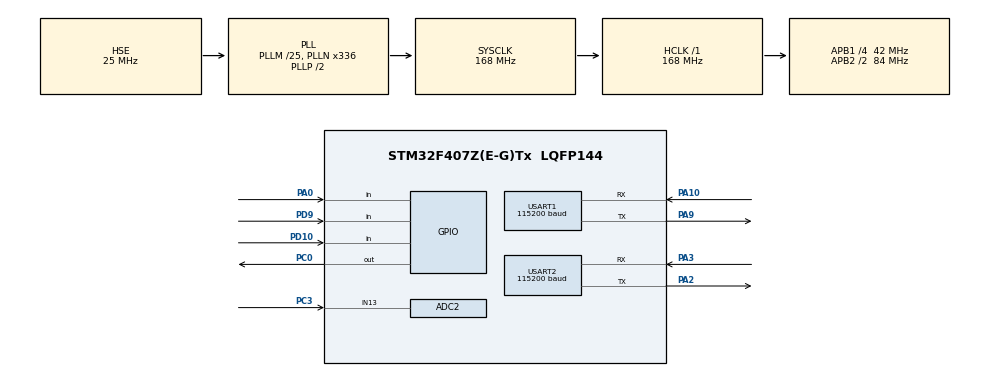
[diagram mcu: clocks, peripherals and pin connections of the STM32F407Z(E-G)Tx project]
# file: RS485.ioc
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ADC2.Channel-0\#ChannelRegularConversion=ADC_CHANNEL_13
ADC2.NbrOfConversionFlag=1
ADC2.Rank-0\#ChannelRegularConversion=1
ADC2.SamplingTime-0\#ChannelRegularConversion=ADC_SAMPLETIME_480CYCLES
Mcu.Family=STM32F4
Mcu.Name=STM32F407Z(E-G)Tx
Mcu.Package=LQFP144
NVIC.PriorityGroup=NVIC_PRIORITYGROUP_4
NVIC.USART1_IRQn=true\:0\:0\:false\:false\:true\:true\:true\:true
NVIC.USART2_IRQn=true\:0\:0\:true\:false\:true\:true\:true\:true
PA0-WKUP.GPIO_PuPd=GPIO_PULLDOWN
PA0-WKUP.Signal=GPIO_Input
PA10.Mode=Asynchronous
PA10.Signal=USART1_RX
PA13.Mode=JTAG_4_pins
PA13.Signal=SYS_JTMS-SWDIO
PA14.Mode=JTAG_4_pins
PA14.Signal=SYS_JTCK-SWCLK
PA15.Mode=JTAG_4_pins
PA15.Signal=SYS_JTDI
PA2.Mode=Asynchronous
PA2.Signal=USART2_TX
PA3.Mode=Asynchronous
PA3.Signal=USART2_RX
PA9.Mode=Asynchronous
PA9.Signal=USART1_TX
PB3.Mode=JTAG_4_pins
PB3.Signal=SYS_JTDO-SWO
PC0.GPIO_Speed=GPIO_SPEED_FREQ_HIGH
PC0.Signal=GPIO_Output
PC3.Signal=ADCx_IN13
PD10.GPIO_PuPd=GPIO_PULLUP
PD10.Signal=GPIO_Input
PD9.GPIO_PuPd=GPIO_PULLUP
PD9.Signal=GPIO_Input
PH0-OSC_IN.Mode=HSE-External-Oscillator
PH0-OSC_IN.Signal=RCC_OSC_IN
PH1-OSC_OUT.Mode=HSE-External-Oscillator
PH1-OSC_OUT.Signal=RCC_OSC_OUT
ProjectManager.HeapSize=0x200
ProjectManager.StackSize=0x400
ProjectManager.TargetToolchain=MDK-ARM V5.32
RCC.48MHZClocksFreq_Value=84000000
RCC.AHBFreq_Value=168000000
RCC.APB1CLKDivider=RCC_HCLK_DIV4
RCC.APB1Freq_Value=42000000
RCC.APB1TimFreq_Value=84000000
RCC.APB2CLKDivider=RCC_HCLK_DIV2
RCC.APB2Freq_Value=84000000
RCC.APB2TimFreq_Value=168000000
RCC.CortexFreq_Value=168000000
RCC.HCLKFreq_Value=168000000
RCC.HSE_VALUE=25000000
RCC.HSI_VALUE=16000000
RCC.LSE_VALUE=32768
RCC.PLLM=25
RCC.PLLN=336
RCC.PLLSourceVirtual=RCC_PLLSOURCE_HSE
RCC.SYSCLKFreq_VALUE=168000000
RCC.SYSCLKSource=RCC_SYSCLKSOURCE_PLLCLK
RCC.VCOOutputFreq_Value=336000000
SH.ADCx_IN13.0=ADC2_IN13,IN13
USART1.BaudRate=115200
USART1.VirtualMode=VM_ASYNC
USART2.BaudRate=115200
USART2.VirtualMode=VM_ASYNC
board=custom

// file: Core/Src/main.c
/* USER CODE BEGIN Header */
/**
  ******************************************************************************
  * @file           : main.c
  * @brief          : Main program body
  ******************************************************************************
  * @attention
  *
  * Copyright (c) 2023 STMicroelectronics.
  * All rights reserved.
  *
  * This software is licensed under terms that can be found in the LICENSE file
  * in the root directory of this software component.
  * If no LICENSE file comes with this software, it is provided AS-IS.
  *
  ******************************************************************************
  */
/* USER CODE END Header */
#include "main.h"
#include "adc.h"
#include "usart.h"
#include "gpio.h"

/* USER CODE BEGIN Includes */
#include <string.h>
#include <stdio.h>
#include <stdlib.h>
/* USER CODE END Includes */

/* USER CODE BEGIN PD */
#define LEDport GPIOC
#define LEDpin GPIO_PIN_3
#define countof(a) sizeof(a)/sizeof(*(a))
#define Ctr_RT GPIOC
#define Ctr_RT_pin GPIO_PIN_0
#define input1_port GPIOD
#define input1_pin GPIO_PIN_9
#define input2_port GPIOD
#define input2_pin GPIO_PIN_10
/* USER CODE END PD */

/* USER CODE BEGIN PV */
char USART1_ReadBuffer;
char USART1_TransmitBuffer[20];
char cmd1='Y';
char cmd2='N';
unsigned char readbuffer[8]="";

int init_ok=0;
/* USER CODE END PV */

void SystemClock_Config(void);
/* USER CODE BEGIN PFP */

void GetModbusCRC16_Cal(uint8_t *data, uint32_t len) // Modbus-CRC Calculation Method
{
	uint8_t temp;
	uint16_t wcrc = 0xFFFF; // 16-bit crc register pre-set
	uint16_t t1 = 0;
	uint32_t i = 0, j = 0; // counters
	for (i = 0; i < len; i++) // Loop to calculate each data byte
	{
		temp = data[i] & 0X00FF; // Isolate lower 8 bits of data and XOR with crc register
		wcrc ^= temp;            // Store data in crc register
		for (j = 0; j < 8; j++)  // Loop to calculate data
		{
			if (wcrc & 0X0001) // Check if the least significant bit (rightmost) is 1, perform XOR with polynomial if true.
			{
				wcrc >>= 1;   // Shift data right by one bit
				wcrc ^= 0XA001; // Perform XOR with the polynomial
			}
			else // If not 1, shift directly
			{
				wcrc >>= 1; // Shift data right by one bit
			}
		}
	}
	data[6] = wcrc & 0xff;
	data[7] = (wcrc & 0xFF00) >> 8;
    return;
}

void init(unsigned char calibration) // If calibration is 0, do not perform calibration; if it is 1, perform calibration.
{
	unsigned char rs485_init[]={0x01,0x06,0x01,0x00,0x00,0x00,0x00,0x00};
	if(calibration==0)
	{
		rs485_init[5]=0x01;
		GetModbusCRC16_Cal(rs485_init,6);
	}
	else
	{
		rs485_init[5]=0xA5;
		GetModbusCRC16_Cal(rs485_init,6);
	}
	HAL_GPIO_WritePin(Ctr_RT,Ctr_RT_pin,GPIO_PIN_SET);
	HAL_Delay(2);
	HAL_UART_Transmit(&huart2,rs485_init,8,10);
	HAL_Delay(2);
	HAL_GPIO_WritePin(Ctr_RT,Ctr_RT_pin,GPIO_PIN_RESET);
	return;
}

void Set_speed(uint8_t speed)
{
	unsigned char rs485_speed[]={0x01,0x06,0x01,0x04,0x00,0x00,0x00,0x00};
	rs485_speed[5]=speed;
	GetModbusCRC16_Cal(rs485_speed,6);
	HAL_GPIO_WritePin(Ctr_RT,Ctr_RT_pin,GPIO_PIN_SET);
	HAL_Delay(2);
	HAL_UART_Transmit(&huart2,rs485_speed,8,10);
	HAL_Delay(2);
	HAL_GPIO_WritePin(Ctr_RT,Ctr_RT_pin,GPIO_PIN_RESET);
	return;
}

void Set_force(uint8_t force) // The range of the force parameter is 0x14 to 0x64.
{
	unsigned char rs485_force[]={0x01,0x06,0x01,0x01,0x00,0x00,0x00,0x00};
	rs485_force[5]=force;
	GetModbusCRC16_Cal(rs485_force,6);
	HAL_GPIO_WritePin(Ctr_RT,Ctr_RT_pin,GPIO_PIN_SET);
	HAL_Delay(2);
	HAL_UART_Transmit(&huart2,rs485_force,8,10);
	HAL_Delay(2);
	HAL_GPIO_WritePin(Ctr_RT,Ctr_RT_pin,GPIO_PIN_RESET);
	return;
}
void Set_position(int pos)
{
	uint8_t higher_byte=(pos&0xff00)>>8;
	uint8_t lower_byte=pos&0xff;
	unsigned char rs485_pos[]={0x01,0x06,0x01,0x03,0x00,0x00,0x00,0x00};
	rs485_pos[4]=higher_byte;
	rs485_pos[5]=lower_byte;
	GetModbusCRC16_Cal(rs485_pos,6);
	HAL_GPIO_WritePin(Ctr_RT,Ctr_RT_pin,GPIO_PIN_SET);
	HAL_Delay(2);
	HAL_UART_Transmit(&huart2,rs485_pos,8,10);
	HAL_Delay(2);
	HAL_GPIO_WritePin(Ctr_RT,Ctr_RT_pin,GPIO_PIN_RESET);
	return;
}

//char is_in_position(void)
//{
//	unsigned char rs485_read_position[]={0x01,0x03,0x02,0x01,0x00,0x01,0xd4,0x72};
//	uint8_t buffer;
//	while (buffer!=1)
//	{
//		HAL_UART_Transmit(&huart2,rs485_read_position,8,10);
//		HAL_UART_Receive(&huart2,buffer,1,5);
//	}
//	return 1;
//}

//void HAL_USART_RxCpltCallback(UART_HandleTypeDef *huart)
//{
//		if(cmd1==USART1_ReadBuffer)
//		{
//			HAL_GPIO_WritePin(LEDport,LEDpin,GPIO_PIN_RESET);
//			sprintf(USART1_TransmitBuffer,"The LED is on\n");
//			HAL_UART_Transmit(&huart1,(unsigned char *)&USART1_TransmitBuffer,strlen(USART1_TransmitBuffer), 100);
//			USART1_ReadBuffer=0;
//		}
//		else if (cmd2==USART1_ReadBuffer)
//		{
//			sprintf(USART1_TransmitBuffer,"The LED is off\n");
//			HAL_UART_Transmit(&huart1,(unsigned char *)&USART1_TransmitBuffer,strlen(USART1_TransmitBuffer), 100);
//			HAL_GPIO_WritePin(LEDport,LEDpin,GPIO_PIN_SET);
//			USART1_ReadBuffer=0;
//		}
//		while(HAL_UART_Receive_IT(&huart1,(unsigned char *)&USART1_ReadBuffer,1)!=HAL_OK);
//}

/* USER CODE END PFP */

// example code for controlling the robot hand
int main(void)
{

  /* MCU Configuration--------------------------------------------------------*/

  /* Reset of all peripherals, Initializes the Flash interface and the Systick. */
  HAL_Init();

  /* Configure the system clock */
  SystemClock_Config();

  /* Initialize all configured peripherals */
  MX_GPIO_Init();
  MX_USART1_UART_Init();
  MX_USART2_UART_Init();
  MX_ADC2_Init();
  /* USER CODE BEGIN 2 */
		init(0);
//		Set_speed(100);
//		Set_force(20);

		unsigned char position[4]="";
		char Txbuffer[20]="";
		int value=0;
		int pos=1000;
		int last_pos=1000;
		GPIO_PinState input1;
		GPIO_PinState input2;
		char last_cmd;
		char new_cmd;

//	HAL_UART_Receive_IT(&huart1,(unsigned char *)&USART1_ReadBuffer,1);
  /* USER CODE END 2 */

  /* Infinite loop */
  /* USER CODE BEGIN WHILE */
  while (1)
  {
//		HAL_ADC_Start(&hadc2);
//		HAL_ADC_PollForConversion(&hadc2,1000);
//		value=HAL_ADC_GetValue(&hadc2);
//		value=value*1000/4096;
//		value=(value-3)/10*10;
//		sprintf(Txbuffer,"Value=%d\n",value);
//		HAL_UART_Transmit(&huart1,(uint8_t *)Txbuffer,sizeof(Txbuffer),500);
//		pos=value;
//		if(pos==last_pos)
//		{
//			HAL_UART_Transmit(&huart1,position,sizeof(position),100);
//			continue;
//		}
//		else
//		{
//			HAL_UART_Transmit(&huart1,position,sizeof(position),100);
//			Set_position(pos);
//			last_pos=pos;
//		}
		input1=HAL_GPIO_ReadPin(input1_port,input1_pin);
		input2=HAL_GPIO_ReadPin(input2_port,input2_pin);

//		if((input1==GPIO_PIN_RESET)&&(input2==GPIO_PIN_RESET))
//		{
//			new_cmd=0;
//		}
//		else
		if((input1==GPIO_PIN_SET)&&(input2==GPIO_PIN_RESET))
		{
			new_cmd=1;
		}
		else if((input1==GPIO_PIN_SET&&input2==GPIO_PIN_SET))
		{
			new_cmd=3;
		}

		if(new_cmd==last_cmd)
		{
			continue;
		}
		else
		{
			last_cmd=new_cmd;

			if(last_cmd==0)
			{
				Set_speed(100);
				Set_force(50);
				Set_position(1000);
			}
			else if(last_cmd==1)
			{
				Set_speed(100);
				Set_force(50);
				Set_position(1000);
			}
			else if(last_cmd==3)
			{
				Set_speed(100);
				Set_force(50);
				Set_position(0);
			}
			//is_in_position();
			HAL_Delay(1000);
		}
    /* USER CODE END WHILE */

  }
}

void SystemClock_Config(void)
{
  RCC_OscInitTypeDef RCC_OscInitStruct = {0};
  RCC_ClkInitTypeDef RCC_ClkInitStruct = {0};

  /** Configure the main internal regulator output voltage
  */
  __HAL_RCC_PWR_CLK_ENABLE();
  __HAL_PWR_VOLTAGESCALING_CONFIG(PWR_REGULATOR_VOLTAGE_SCALE1);

  /** Initializes the RCC Oscillators according to the specified parameters
  * in the RCC_OscInitTypeDef structure.
  */
  RCC_OscInitStruct.OscillatorType = RCC_OSCILLATORTYPE_HSE;
  RCC_OscInitStruct.HSEState = RCC_HSE_ON;
  RCC_OscInitStruct.PLL.PLLState = RCC_PLL_ON;
  RCC_OscInitStruct.PLL.PLLSource = RCC_PLLSOURCE_HSE;
  RCC_OscInitStruct.PLL.PLLM = 25;
  RCC_OscInitStruct.PLL.PLLN = 336;
  RCC_OscInitStruct.PLL.PLLP = RCC_PLLP_DIV2;
  RCC_OscInitStruct.PLL.PLLQ = 4;
  if (HAL_RCC_OscConfig(&RCC_OscInitStruct) != HAL_OK)
  {
    Error_Handler();
  }

  /** Initializes the CPU, AHB and APB buses clocks
  */
  RCC_ClkInitStruct.ClockType = RCC_CLOCKTYPE_HCLK|RCC_CLOCKTYPE_SYSCLK
                              |RCC_CLOCKTYPE_PCLK1|RCC_CLOCKTYPE_PCLK2;
  RCC_ClkInitStruct.SYSCLKSource = RCC_SYSCLKSOURCE_PLLCLK;
  RCC_ClkInitStruct.AHBCLKDivider = RCC_SYSCLK_DIV1;
  RCC_ClkInitStruct.APB1CLKDivider = RCC_HCLK_DIV4;
  RCC_ClkInitStruct.APB2CLKDivider = RCC_HCLK_DIV2;

  if (HAL_RCC_ClockConfig(&RCC_ClkInitStruct, FLASH_LATENCY_5) != HAL_OK)
  {
    Error_Handler();
  }
}

void Error_Handler(void)
{
  __disable_irq();
  while (1)
  {
  }
}
